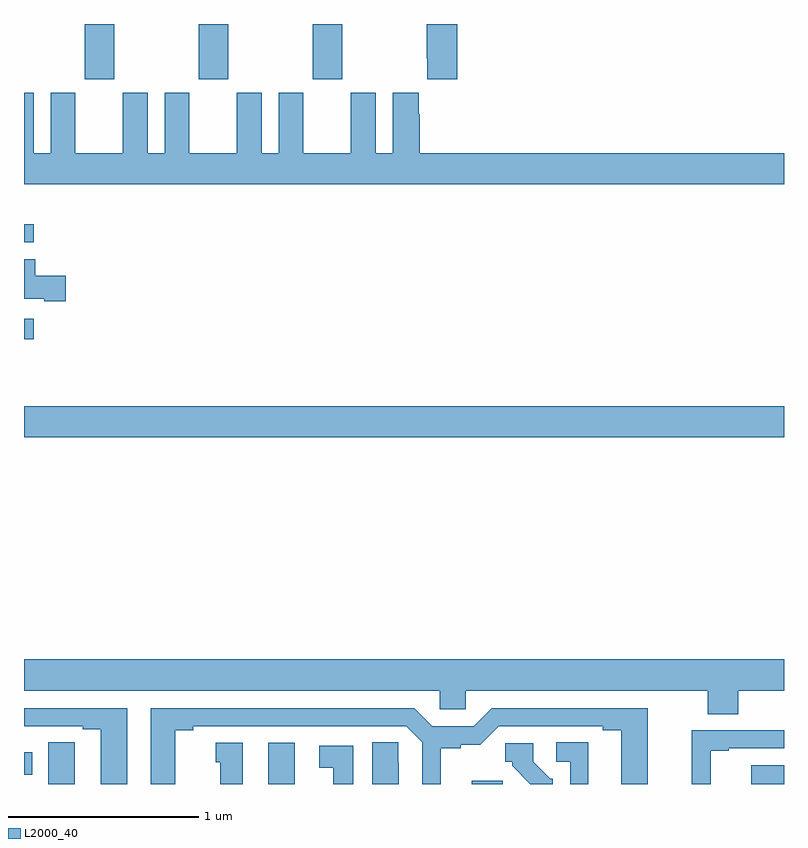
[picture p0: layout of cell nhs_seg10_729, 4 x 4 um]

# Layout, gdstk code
import gdstk
lib = gdstk.Library(unit=1e-6, precision=1e-09)
def R(c, l, rs):  # rectangles x0, y0, x1, y1
    for r in rs: c.add(gdstk.rectangle(r[:2], r[2:], *l))
def A(c, l, x, y, w, h, nx, ny, dx, dy):  # array of equal rectangles
    R(c, l, [(x+i*dx, y+j*dy, x+i*dx+w, y+j*dy+h) for i in range(nx) for j in range(ny)])
def P(c, l, *ps):  # polygons
    for p in ps: c.add(gdstk.Polygon(p, *l))
L2000_40 = (2000, 40)

nhs_seg10_729 = lib.new_cell('nhs_seg10_729')
A(nhs_seg10_729, L2000_40, 147.319, 1294.209, 0.155, 0.291, 3, 1, 0.6, 0)
R(nhs_seg10_729, L2000_40, [(148.286,1290.5,148.426,1290.718), (149.357,1290.5,149.521,1290.517), (150.827,1290.5,151,1290.598), (147,1290.55,147.043,1290.666), (147,1292.324,151,1292.488), (147,1292.841,147.052,1292.949), (147,1293.351,147.052,1293.447)])
P(nhs_seg10_729, L2000_40, [(149.279,1294.5),(149.119,1294.5),(149.119,1294.321),(149.123,1294.321),(149.123,1294.209),(149.279,1294.209)],
  [(151,1293.82),(149.084,1293.82),(149.084,1294.025),(149.077,1294.025),(149.077,1294.138),(148.94,1294.138),(148.94,1293.82),(148.852,1293.82),(148.852,1294.138),(148.721,1294.138),(148.721,1293.82),(148.471,1293.82),(148.471,1294.138),(148.34,1294.138),(148.34,1293.82),(148.252,1293.82),(148.252,1294.138),(148.121,1294.138),(148.121,1293.82),(147.871,1293.82),(147.871,1294.138),(147.74,1294.138),(147.74,1293.82),(147.652,1293.82),(147.652,1294.138),(147.521,1294.138),(147.521,1293.82),(147.271,1293.82),(147.271,1294.138),(147.14,1294.138),(147.14,1293.82),(147.052,1293.82),(147.052,1294.138),(147,1294.138),(147,1293.656),(151,1293.656)],
  [(147.22,1293.175),(147.058,1293.175),(147.058,1293.262),(147,1293.262),(147,1293.053),(147.107,1293.053),(147.107,1293.041),(147.22,1293.041)],
  [(150.758,1290.992),(151,1290.992),(151,1291.156),(147,1291.156),(147,1290.992),(149.187,1290.992),(149.187,1290.894),(149.325,1290.894),(149.325,1290.992),(150.598,1290.992),(150.598,1290.868),(150.758,1290.868)],
  [(147.796,1290.784),(147.892,1290.784),(147.892,1290.804),(149.013,1290.804),(149.097,1290.72),(149.097,1290.5),(149.194,1290.5),(149.194,1290.688),(149.298,1290.688),(149.298,1290.707),(149.402,1290.707),(149.499,1290.804),(150.047,1290.804),(150.047,1290.784),(150.143,1290.784),(150.143,1290.5),(150.283,1290.5),(150.283,1290.9),(149.463,1290.9),(149.367,1290.804),(149.149,1290.804),(149.053,1290.9),(147.668,1290.9),(147.668,1290.5),(147.796,1290.5)],
  [(147.544,1290.9),(147,1290.9),(147,1290.803),(147.032,1290.803),(147.032,1290.804),(147.308,1290.804),(147.308,1290.789),(147.404,1290.789),(147.404,1290.5),(147.544,1290.5)],
  [(150.614,1290.675),(150.709,1290.675),(150.709,1290.687),(151,1290.687),(151,1290.783),(150.514,1290.783),(150.514,1290.5),(150.614,1290.5)],
  [(149.971,1290.719),(149.802,1290.719),(149.802,1290.618),(149.874,1290.618),(149.874,1290.5),(149.971,1290.5)],
  [(148.972,1290.611),(148.971,1290.611),(148.971,1290.719),(148.832,1290.719),(148.832,1290.5),(148.972,1290.5)],
  [(147.268,1290.611),(147.267,1290.611),(147.267,1290.719),(147.128,1290.719),(147.128,1290.5),(147.268,1290.5)],
  [(148.15,1290.718),(148.01,1290.718),(148.01,1290.615),(148.034,1290.615),(148.034,1290.5),(148.15,1290.5)],
  [(149.784,1290.528),(149.769,1290.528),(149.679,1290.618),(149.679,1290.714),(149.532,1290.714),(149.532,1290.618),(149.571,1290.618),(149.571,1290.595),(149.665,1290.5),(149.784,1290.5)],
  [(148.732,1290.702),(148.554,1290.702),(148.554,1290.586),(148.628,1290.586),(148.628,1290.5),(148.732,1290.5)])

lib.write_gds('nhs_seg10_729.gds')
